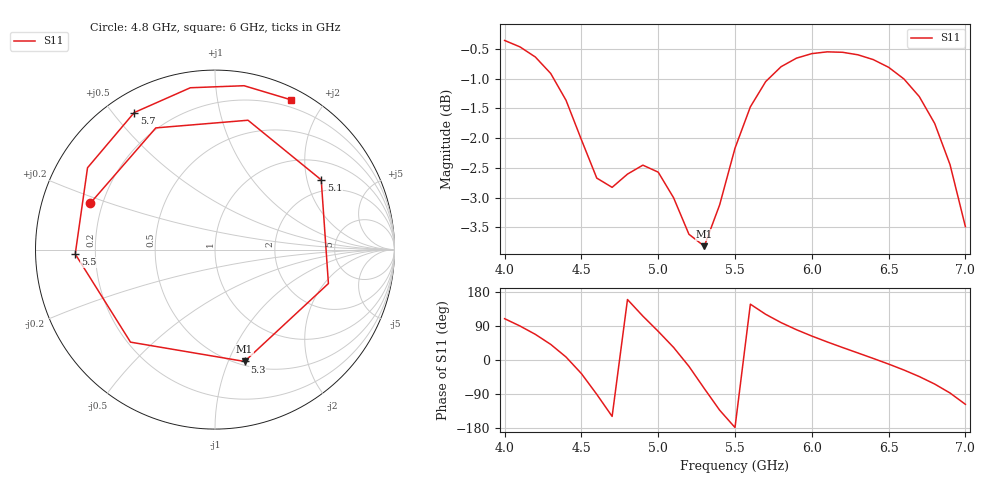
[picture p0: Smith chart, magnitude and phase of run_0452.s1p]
! Touchstone file exported from HFSS 2024.2.0
!  File:  C:/Users/wsak9/Desktop/Sim Fast/Widenad Patch/WP_AI_V1_sweep.aedt
!  Generated:  10:40:28 AM Oct 14, 2026
!  Design:  A1_model
!  Project:  WP_AI_V1_sweep
!  Setup:  Setup1
!  Solution:  Sweep
! Variables:
!  Air_gap = 2.52mm
!  Curve_Amp1 = 2.72
!  Curve_len1 = 1
!  Curve_pos = 11.835mm
!  Extra = 1.84mm
!  H_sub = 0.79mm
!  L_Patch = 19.67mm
!  L_Patch1 = 11.55mm
!  Sx = 4.79mm
!  Sy = 2.2mm
!  WS = 0.92mm
!  W_Patch = 11.66mm
!  W_Patch1 = 9.71mm
!Data is not renormalized
# GHz S MA
! Terminal data exported
! Port[1] = 1
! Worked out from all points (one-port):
!   31 points, 4 GHz to 7 GHz, reference per port
!   lowest |S11| = -3.8 dB at 5.3 GHz (marker M1), VSWR 4.63
!   |S11| at or under -10 dB: nowhere
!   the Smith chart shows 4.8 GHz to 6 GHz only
!   S11 on the Smith chart (normalised r, x): 4.8 GHz: 0.15, +0.18; 5.1 GHz: 1.57, +2.45; 5.3 GHz: 0.54, -1.15; 5.5 GHz: 0.12, -0.02; 5.7 GHz: 0.08, +0.57; 6 GHz: 0.12, +1.62
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4  0.9596 109.0
4.1  0.9478 89.7
4.2  0.9294 67.7
4.3  0.9003 41.3
4.4  0.8547 7.8
4.5  0.7919 -35.8
4.6  0.7353 -90.6
4.7  0.7223 -148.9
4.8  0.741 159.6
4.9  0.754 115.9
5  0.7438 75.7
5.1  0.7079 33.3
5.2  0.6596 -16.7
5.3  0.6446 -75.2
5.4  0.6982 -132.4
5.5  0.7791 -178.2
5.6  0.844 147.3
5.7  0.8863 120.5
5.8  0.9121 98.7
5.9  0.9273 79.9
6  0.9355 63.2
6.2  0.9379 33.0
6.3  0.9334 18.6
6.5  0.9111 -10.7
6.7  0.8608 -43.8
6.8  0.8173 -63.5
6.9  0.7547 -87.1
7  0.6694 -117.0
